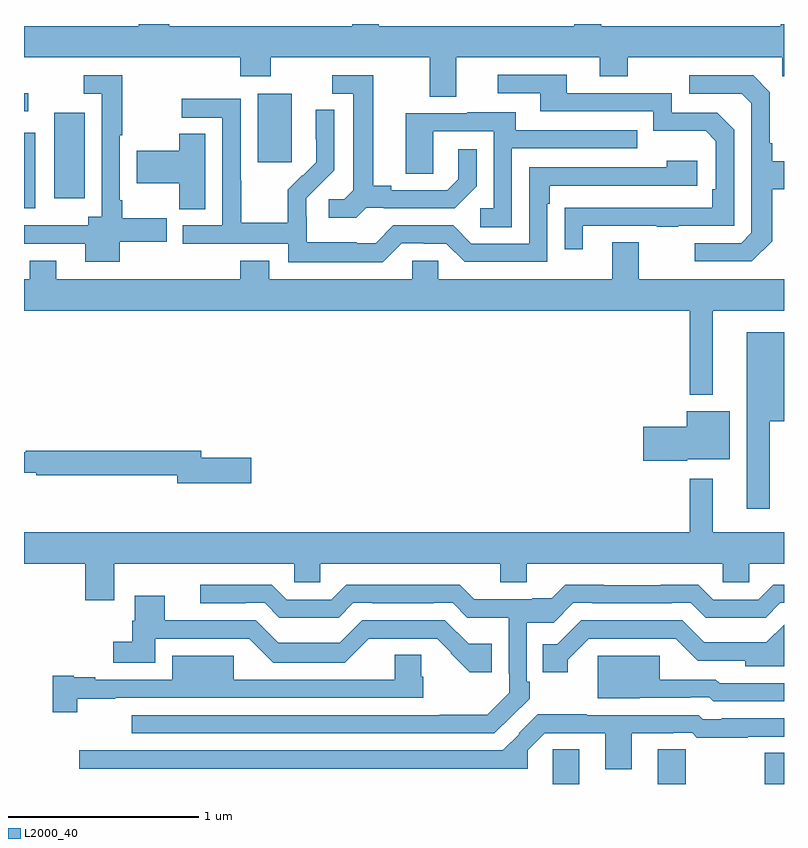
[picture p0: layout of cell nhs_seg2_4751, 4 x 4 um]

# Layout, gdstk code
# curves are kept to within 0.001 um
import gdstk
lib = gdstk.Library(unit=1e-6, precision=1e-09)
def R(c, l, rs):  # rectangles x0, y0, x1, y1
    for r in rs: c.add(gdstk.rectangle(r[:2], r[2:], *l))
def P(c, l, *ps):  # polygons
    for p in ps: c.add(gdstk.Polygon(p, *l))
L2000_40 = (2000, 40)

nhs_seg2_4751 = lib.new_cell('nhs_seg2_4751')
R(nhs_seg2_4751, L2000_40, [(371.784,655.8,371.923,655.982), (372.335,655.8,372.483,655.982), (372.898,655.8,373,655.964), (369,658.829,369.058,659.227), (369.158,658.884,369.319,659.332), (370.229,659.073,370.408,659.434), (369,659.34,369.022,659.436)])
P(nhs_seg2_4751, L2000_40, [(371.275,659.624),(372.029,659.624),(372.029,659.525),(372.177,659.525),(372.177,659.624),(372.99,659.624),(372.99,659.525),(373,659.525),(373,659.8),(372.984,659.8),(372.984,659.788),(372.037,659.788),(372.037,659.8),(371.897,659.8),(371.897,659.788),(370.866,659.788),(370.866,659.8),(370.728,659.8),(370.728,659.788),(369.765,659.788),(369.765,659.8),(369.605,659.8),(369.605,659.788),(369,659.788),(369,659.624),(370.139,659.624),(370.139,659.525),(370.299,659.525),(370.299,659.624),(371.135,659.624),(371.135,659.416),(371.275,659.416)],
  [(371.941,658.737),(372.331,658.737),(372.331,658.732),(372.443,658.732),(372.443,658.737),(372.738,658.737),(372.738,659.244),(372.648,659.334),(372.408,659.334),(372.408,659.436),(371.857,659.436),(371.857,659.532),(371.493,659.532),(371.493,659.436),(371.717,659.436),(371.717,659.34),(372.312,659.34),(372.312,659.237),(372.589,659.237),(372.642,659.184),(372.642,658.93),(372.622,658.93),(372.622,658.833),(371.845,658.832),(371.845,658.614),(371.941,658.614)],
  [(369.505,658.655),(369.75,658.655),(369.75,658.777),(369.517,658.777),(369.517,658.873),(369.504,658.873),(369.504,659.215),(369.517,659.215),(369.517,659.529),(369.315,659.529),(369.315,659.433),(369.408,659.433),(369.408,658.786),(369.338,658.786),(369.338,658.74),(369,658.74),(369,658.644),(369.323,658.644),(369.323,658.55),(369.505,658.55)],
  [(372.937,658.657),(372.937,658.93),(373,658.93),(373,659.077),(372.937,659.077),(372.937,659.173),(372.924,659.173),(372.924,659.442),(372.837,659.529),(372.501,659.529),(372.501,659.433),(372.777,659.433),(372.828,659.382),(372.828,658.701),(372.774,658.647),(372.531,658.647),(372.531,658.551),(372.831,658.551)],
  [(370.8,658.833),(370.894,658.833),(370.894,658.83),(371.266,658.83),(371.382,658.946),(371.382,659.14),(371.285,659.14),(371.285,658.983),(371.228,658.926),(370.933,658.926),(370.933,658.949),(370.837,658.949),(370.837,659.529),(370.623,659.529),(370.623,659.433),(370.733,659.433),(370.733,658.925),(370.686,658.878),(370.605,658.878),(370.605,658.781),(370.748,658.781)],
  [(370.989,658.647),(371.105,658.647),(371.105,658.644),(371.223,658.644),(371.319,658.548),(371.754,658.548),(371.754,658.853),(371.767,658.853),(371.767,658.95),(372.544,658.95),(372.544,659.08),(372.383,659.08),(372.383,659.046),(371.658,659.046),(371.658,658.644),(371.355,658.644),(371.259,658.74),(370.944,658.74),(370.851,658.647),(370.751,658.647),(370.751,658.651),(370.488,658.651),(370.488,658.785),(370.486,658.785),(370.486,658.882),(370.632,659.03),(370.632,659.348),(370.536,659.348),(370.536,659.194),(370.538,659.194),(370.538,659.072),(370.467,659.001),(370.464,659.004),(370.387,658.927),(370.387,658.753),(370.143,658.753),(370.143,658.976),(370.14,658.976),(370.14,659.406),(369.831,659.406),(369.831,659.307),(370.044,659.307),(370.044,658.74),(369.835,658.74),(369.835,658.644),(370.392,658.644),(370.392,658.547),(370.889,658.547)],
  [(371.568,659.145),(372.227,659.145),(372.227,659.241),(371.587,659.241),(371.587,659.335),(371.333,659.335),(371.333,659.331),(371.009,659.331),(371.009,659.011),(371.154,659.011),(371.154,659.235),(371.472,659.235),(371.472,658.83),(371.4,658.83),(371.4,658.729),(371.568,658.729)],
  [(369.955,659.222),(369.817,659.222),(369.817,659.132),(369.594,659.132),(369.594,658.961),(369.817,658.961),(369.817,658.825),(369.955,658.825)],
  [(372.625,658.292),(373,658.292),(373,658.456),(372.235,658.456),(372.235,658.651),(372.095,658.651),(372.095,658.456),(371.181,658.456),(371.181,658.554),(371.043,658.554),(371.043,658.456),(370.291,658.456),(370.291,658.555),(370.139,658.555),(370.139,658.456),(369.169,658.456),(369.169,658.555),(369.029,658.555),(369.029,658.456),(369,658.456),(369,658.292),(372.504,658.292),(372.504,657.848),(372.625,657.848)],
  [(372.925,657.71),(373,657.71),(373,658.177),(372.803,658.177),(372.803,657.249),(372.925,657.249)],
  [(372.492,657.509),(372.715,657.509),(372.715,657.763),(372.488,657.763),(372.488,657.68),(372.258,657.68),(372.258,657.502),(372.492,657.502)],
  [(370.195,657.518),(369.934,657.518),(369.934,657.554),(369.01,657.554),(369.01,657.547),(369,657.547),(369,657.438),(369.064,657.438),(369.064,657.426),(369.806,657.426),(369.806,657.383),(370.195,657.383)],
  [(369.475,656.96),(370.422,656.96),(370.422,656.862),(370.56,656.862),(370.56,656.96),(371.507,656.96),(371.507,656.861),(371.647,656.861),(371.647,656.96),(372.678,656.96),(372.678,656.862),(372.816,656.862),(372.816,656.96),(373,656.96),(373,657.124),(372.625,657.124),(372.625,657.406),(372.504,657.406),(372.504,657.124),(369,657.124),(369,656.96),(369.323,656.96),(369.323,656.766),(369.475,656.766)],
  [(371.561,656.152),(371.562,656.151),(371.661,656.25),(371.661,656.338),(371.646,656.338),(371.646,656.649),(371.787,656.649),(371.892,656.754),(371.992,656.754),(371.992,656.751),(372.41,656.751),(372.41,656.754),(372.51,656.754),(372.588,656.676),(372.903,656.676),(372.981,656.754),(373,656.754),(373,656.848),(372.943,656.848),(372.864,656.769),(372.627,656.769),(372.548,656.848),(371.848,656.848),(371.778,656.778),(371.675,656.778),(371.675,656.773),(371.369,656.773),(371.294,656.848),(370.696,656.848),(370.617,656.769),(370.383,656.769),(370.304,656.848),(369.927,656.848),(369.927,656.751),(370.166,656.751),(370.166,656.754),(370.266,656.754),(370.344,656.676),(370.656,656.676),(370.734,656.754),(370.834,656.754),(370.834,656.751),(371.156,656.751),(371.156,656.754),(371.256,656.754),(371.334,656.676),(371.549,656.676),(371.55,656.38),(371.553,656.38),(371.553,656.281),(371.437,656.165),(371.188,656.165),(371.188,656.163),(369.567,656.163),(369.567,656.067),(371.476,656.067)],
  [(371.461,656.537),(371.34,656.537),(371.215,656.661),(370.779,656.661),(370.662,656.544),(370.338,656.544),(370.221,656.661),(369.742,656.661),(369.742,656.791),(369.584,656.791),(369.584,656.658),(369.569,656.658),(369.569,656.548),(369.471,656.548),(369.471,656.438),(369.691,656.438),(369.691,656.565),(370.185,656.565),(370.312,656.438),(370.688,656.438),(370.814,656.564),(371.175,656.565),(371.249,656.491),(371.246,656.488),(371.347,656.388),(371.461,656.388)],
  [(371.863,656.455),(371.973,656.565),(372.429,656.565),(372.546,656.448),(372.795,656.448),(372.795,656.42),(373,656.42),(373,656.639),(372.906,656.545),(372.581,656.545),(372.465,656.661),(371.933,656.661),(371.807,656.535),(371.731,656.535),(371.731,656.388),(371.863,656.388)],
  [(369.28,656.248),(369.479,656.248),(369.479,656.253),(371.1,656.253),(371.1,656.364),(371.092,656.364),(371.092,656.48),(370.952,656.48),(370.952,656.349),(370.105,656.349),(370.105,656.476),(369.779,656.476),(369.779,656.349),(369.376,656.349),(369.376,656.362),(369.262,656.362),(369.262,656.369),(369.15,656.369),(369.15,656.178),(369.28,656.178)],
  [(373,656.331),(372.763,656.331),(372.763,656.329),(372.662,656.329),(372.642,656.349),(372.346,656.349),(372.346,656.476),(372.02,656.476),(372.02,656.252),(372.506,656.253),(372.506,656.256),(372.606,656.256),(372.627,656.235),(373,656.235)],
  [(372.199,656.067),(372.416,656.067),(372.416,656.07),(372.516,656.07),(372.542,656.044),(372.809,656.044),(372.809,656.049),(373,656.049),(373,656.145),(372.673,656.145),(372.673,656.142),(372.573,656.142),(372.552,656.163),(371.963,656.163),(371.963,656.166),(371.703,656.166),(371.605,656.068),(371.608,656.065),(371.52,655.977),(369.291,655.977),(369.291,655.881),(371.652,655.881),(371.652,655.977),(371.742,656.067),(372.059,656.067),(372.059,655.878),(372.199,655.878)])

lib.write_gds('nhs_seg2_4751.gds')
